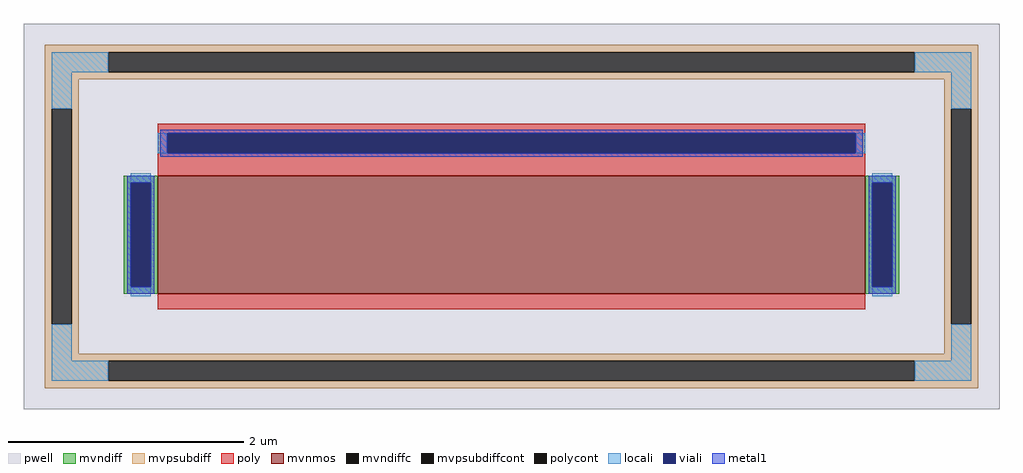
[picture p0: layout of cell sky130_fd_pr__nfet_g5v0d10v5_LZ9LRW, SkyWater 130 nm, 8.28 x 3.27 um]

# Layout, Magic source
magic
tech sky130A
magscale 1 2
<< pwell >>
rect -828 -327 828 327
<< mvnmos >>
rect -600 -131 600 69
<< mvndiff >>
rect -658 57 -600 69
rect -658 -119 -646 57
rect -612 -119 -600 57
rect -658 -131 -600 -119
rect 600 57 658 69
rect 600 -119 612 57
rect 646 -119 658 57
rect 600 -131 658 -119
<< mvndiffc >>
rect -646 -119 -612 57
rect 612 -119 646 57
<< mvpsubdiff >>
rect -792 279 792 291
rect -792 245 -684 279
rect 684 245 792 279
rect -792 233 792 245
rect -792 183 -734 233
rect -792 -183 -780 183
rect -746 -183 -734 183
rect 734 183 792 233
rect -792 -233 -734 -183
rect 734 -183 746 183
rect 780 -183 792 183
rect 734 -233 792 -183
rect -792 -245 792 -233
rect -792 -279 -684 -245
rect 684 -279 792 -245
rect -792 -291 792 -279
<< mvpsubdiffcont >>
rect -684 245 684 279
rect -780 -183 -746 183
rect 746 -183 780 183
rect -684 -279 684 -245
<< poly >>
rect -600 141 600 157
rect -600 107 -584 141
rect 584 107 600 141
rect -600 69 600 107
rect -600 -157 600 -131
<< polycont >>
rect -584 107 584 141
<< locali >>
rect -780 245 -684 279
rect 684 245 780 279
rect -780 183 -746 245
rect 746 183 780 245
rect -600 107 -584 141
rect 584 107 600 141
rect -646 57 -612 73
rect -646 -135 -612 -119
rect 612 57 646 73
rect 612 -135 646 -119
rect -780 -245 -746 -183
rect 746 -245 780 -183
rect -780 -279 -684 -245
rect 684 -279 780 -245
<< viali >>
rect -584 107 584 141
rect -646 -119 -612 57
rect 612 -119 646 57
<< metal1 >>
rect -596 141 596 147
rect -596 107 -584 141
rect 584 107 596 141
rect -596 101 596 107
rect -652 57 -606 69
rect -652 -119 -646 57
rect -612 -119 -606 57
rect -652 -131 -606 -119
rect 606 57 652 69
rect 606 -119 612 57
rect 646 -119 652 57
rect 606 -131 652 -119
<< properties >>
string FIXED_BBOX -763 -262 763 262
string gencell sky130_fd_pr__nfet_g5v0d10v5
string library sky130
string parameters w 1.0 l 6 m 1 nf 1 diffcov 100 polycov 100 guard 1 glc 1 grc 1 gtc 1 gbc 1 tbcov 100 rlcov 100 topc 1 botc 0 poverlap 0 doverlap 1 lmin 0.50 wmin 0.42 compatible {sky130_fd_pr__nfet_01v8 sky130_fd_pr__nfet_01v8_lvt  sky130_fd_bs_flash__special_sonosfet_star  sky130_fd_pr__nfet_g5v0d10v5 sky130_fd_pr__nfet_05v0_nvt  sky130_fd_pr__nfet_03v3_nvt} full_metal 1 viasrc 100 viadrn 100 viagate 100 viagb 0 viagr 0 viagl 0 viagt 0
<< end >>
